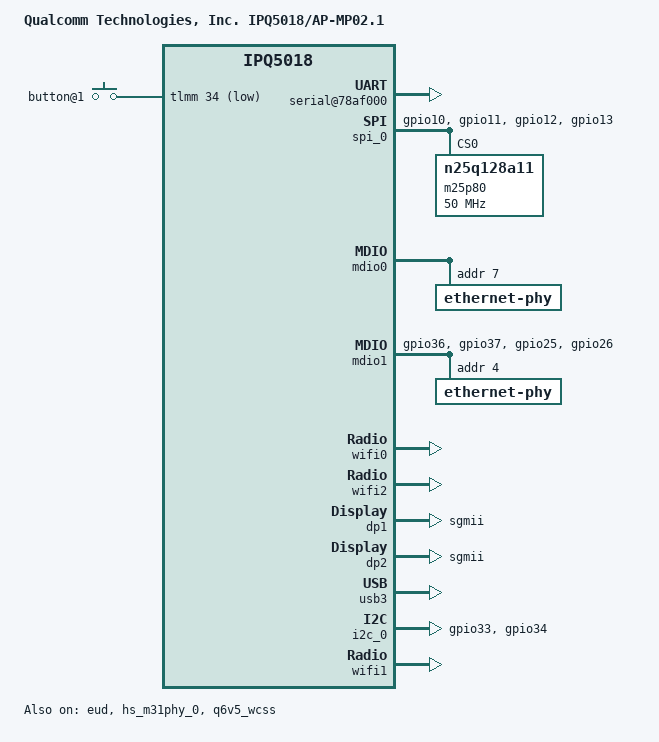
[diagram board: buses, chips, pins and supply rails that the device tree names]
/dts-v1/;
/* Copyright (c) 2018-2021, The Linux Foundation. All rights reserved.
 *
 * Copyright (c) 2021 Qualcomm Innovation Center, Inc. All rights reserved.
 *
 * Permission to use, copy, modify, and/or distribute this software for any
 * purpose with or without fee is hereby granted, provided that the above
 * copyright notice and this permission notice appear in all copies.
 *
 * THE SOFTWARE IS PROVIDED "AS IS" AND THE AUTHOR DISCLAIMS ALL WARRANTIES
 * WITH REGARD TO THIS SOFTWARE INCLUDING ALL IMPLIED WARRANTIES OF
 * MERCHANTABILITY AND FITNESS. IN NO EVENT SHALL THE AUTHOR BE LIABLE FOR
 * ANY SPECIAL, DIRECT, INDIRECT, OR CONSEQUENTIAL DAMAGES OR ANY DAMAGES
 * WHATSOEVER RESULTING FROM LOSS OF USE, DATA OR PROFITS, WHETHER IN AN
 * ACTION OF CONTRACT, NEGLIGENCE OR OTHER TORTIOUS ACTION, ARISING OUT OF
 * OR IN CONNECTION WITH THE USE OR PERFORMANCE OF THIS SOFTWARE.
 */

#include "ipq5018.dtsi"

/ {
	#address-cells = <0x2>;
	#size-cells = <0x2>;
	model = "Qualcomm Technologies, Inc. IPQ5018/AP-MP02.1";
	compatible = "qcom,ipq5018-ap-mp02.1", "qcom,ipq5018-mp02.1", "qcom,ipq5018";
	interrupt-parent = <&intc>;

	MP_256;
	/delete-property/ MP_512;

	aliases {
		sdhc1 = &sdhc_1; /* SDC1 eMMC slot */
		serial0 = &blsp1_uart1;
		serial1 = &blsp1_uart2;
		ethernet0 = "/soc/dp1";
		ethernet1 = "/soc/dp2";
	};

	chosen {
		bootargs = "console=ttyMSM0,115200,n8 rw init=/init";
		bootargs-append = " swiotlb=1 coherent_pool=2M";
		stdout-path = "serial0";
	};

	/*            256 MB Profile
	 * +=========+==============+========================+
	 * |        |              |                         |
	 * | Region | Start Offset |          Size           |
	 * |        |              |                         |
	 * +--------+--------------+-------------------------+
	 * |        |              |                         |
	 * |        |              |                         |
	 * |  NSS   |  0x40000000  |          8MB           |
	 * |        |              |                         |
	 * |        |              |                         |
	 * +--------+--------------+-------------------------+
	 * |        |              |                         |
	 * |        |              |                         |
	 * |        |              |                         |
	 * |        |              |                         |
	 * | Linux  |  0x40800000  | Depends on total memory |
	 * |        |              |                         |
	 * |        |              |                         |
	 * |        |              |                         |
	 * +        |              |                         |
	 * +--------+--------------+-------------------------+
	 * |        |              |                         |
	 * | uboot  |  0x4A600000  |           4MB           |
	 * |        |              |                         |
	 * +--------+--------------+-------------------------+
	 * |  SBL   |  0x4AA00000  |           1MB           |
	 * +--------+--------------+-------------------------+
	 * |  smem  |  0x4AB00000  |           1MB           |
	 * +--------+--------------+-------------------------+
	 * |        |              |                         |
	 * |   TZ   |  0x4AC00000  |           4MB           |
	 * |        |              |                         |
	 * +--------+--------------+-------------------------+
	 * |        |              |                         |
	 * |        |              |                         |
	 * |        |              |                         |
	 * |   Q6   |  0x4B000000  |          20MB           |
	 * |  code/ |              |                         |
	 * |  data  |              |                         |
	 * +--------+--------------+-------------------------+
	 * |        |              |                         |
	 * |IPQ5018 |  0x4C400000  |          13MB           |
	 * |  data  |              |                         |
	 * +--------+--------------+-------------------------+
	 * | M3 Dump|  0x4D100000  |           1MB           |
	 * +--------+--------------+-------------------------+
	 * |  QDSS  |  0x4D200000  |           1MB           |
	 * +--------+--------------+-------------------------+
	 * |QCN6122 |  0x4D300000  |          13MB           |
	 * |  data  |              |                         |
	 * +--------+--------------+-------------------------+
	 * | M3 Dump|  0x4E000000  |           1MB           |
	 * +--------+--------------+-------------------------+
	 * |  QDSS  |  0x4E100000  |           1MB           |
	 * +--------+--------------+-------------------------+
	 * |QCN6122 |  0x4E200000  |          13MB           |
	 * |  data  |              |                         |
	 * +--------+--------------+-------------------------+
	 * | M3 Dump|  0x4EF00000  |           1MB           |
	 * +--------+--------------+-------------------------+
	 * |  QDSS  |  0x4F000000  |           1MB           |
	 * +--------+--------------+-------------------------+
	 * |                                                 |
	 * |      Rest of the memory for Linux               |
	 * |                                                 |
	 * +=================================================+
	 */
	reserved-memory {
		/delete-node/ nss@40000000;

		nss@40000000 {
			no-map;
			reg = <0x0 0x40000000 0x0 0x0800000>;
		};

		q6_mem_regions: q6_mem_regions@4B000000 {
			no-map;
			reg = <0x0 0x4B000000 0x0 0x4100000>;
		};

		q6_code_data: q6_code_data@4B000000 {
			no-map;
			reg = <0x0 0x4B000000 0x0 01400000>;
		};

		q6_ipq5018_data: q6_ipq5018_data@4C400000 {
			no-map;
			reg = <0x0 0x4C400000 0x0 0xD00000>;
		};

		m3_dump: m3_dump@4D100000 {
			no-map;
			reg = <0x0 0x4D100000 0x0 0x100000>;
		};

		q6_etr_region: q6_etr_dump@4D200000 {
			no-map;
			reg = <0x0 0x4D200000 0x0 0x100000>;
		};

		q6_qcn6122_data1: q6_qcn6122_data1@4D300000 {
			no-map;
			reg = <0x0 0x4D300000 0x0 0xD00000>;
		};

		m3_dump_qcn6122_1: m3_dump_qcn6122_1@4E000000 {
			no-map;
			reg = <0x0 0x4E000000 0x0 0x100000>;
		};

		q6_qcn6122_etr_1: q6_qcn6122_etr_1@4E100000 {
			no-map;
			reg = <0x0 0x4E100000 0x0 0x100000>;
		};

		q6_qcn6122_data2: q6_qcn6122_data2@4E200000 {
			no-map;
			reg = <0x0 0x4E200000 0x0 0xD00000>;
		};

		m3_dump_qcn6122_2: m3_dump_qcn6122_2@4EF00000 {
			no-map;
			reg = <0x0 0x4EF00000 0x0 0x100000>;
		};

		q6_qcn6122_etr_2: q6_qcn6122_etr_2@4F000000 {
			no-map;
			reg = <0x0 0x4F000000 0x0 0x100000>;
		};
	};

	soc {
		serial@78af000 {
			status = "ok";
		};

		blsp1_uart2: serial@78b0000 {
			pinctrl-0 = <&blsp1_uart_pins>;
			pinctrl-names = "default";
		};

		qpic_bam: dma@7984000{
			status = "disabled";
		};

		nand: qpic-nand@79b0000 {
			pinctrl-0 = <&qspi_nand_pins>;
			pinctrl-names = "default";
			status = "disabled";
		};

		spi_0: spi@78b5000 { /* BLSP1 QUP0 */
			pinctrl-0 = <&blsp0_spi_pins>;
			pinctrl-names = "default";
			cs-select = <0>;
			status = "ok";

			m25p80@0 {
				#address-cells = <1>;
				#size-cells = <1>;
				reg = <0>;
				compatible = "n25q128a11";
				linux,modalias = "m25p80", "n25q128a11";
				spi-max-frequency = <50000000>;
				use-default-sizes;
			};
		};

		mdio0: mdio@88000 {
			status = "ok";

			ethernet-phy@0 {
				reg = <7>;
			};
		};

		mdio1: mdio@90000 {
			status = "ok";
			pinctrl-0 = <&mdio1_pins &phy_pins>;
			pinctrl-names = "default";
			phy-reset-gpio = <&tlmm 26 0>;

			ethernet-phy@0 {
				reg = <4>;
			};
		};

		ess-instance {
			num_devices = <0x1>;
			ess-switch@0x39c00000 {
				switch_mac_mode = <0xf>; /* mac mode for uniphy instance*/
				cmnblk_clk = "internal_96MHz"; /* cmnblk clk*/
				qcom,port_phyinfo {
					port@0 {
						port_id = <1>;
						phy_address = <7>;
						mdiobus = <&mdio0>;
					};
					port@1 {
						port_id = <2>;
						phy_address = <0x4>;
						mdiobus = <&mdio1>;
					};
				};
				led_source@0 {
					source = <0>;
					mode = "normal";
					speed = "all";
					blink_en = "enable";
					active = "low";
				};
			};
		};

		wifi0: wifi@c000000 {
			qcom,tgt-mem-mode = <2>;
			status = "ok";
		};

		wifi2: wifi2@c000000 {
			compatible = "qcom,cnss-qcn6122";
			qcom,rproc = <&q6v5_wcss>;
			status = "disabled";
		};

		dp1 {
			device_type = "network";
			compatible = "qcom,nss-dp";
			clocks = <&gcc GCC_SNOC_GMAC0_AXI_CLK>;
			clock-names = "nss-snoc-gmac-axi-clk";
			qcom,id = <1>;
			reg = <0x39C00000 0x10000>;
			interrupts = <GIC_SPI 101 IRQ_TYPE_LEVEL_HIGH>;
			qcom,mactype = <2>;
			qcom,link-poll = <1>;
			qcom,phy-mdio-addr = <7>;
			mdio-bus = <&mdio0>;
			local-mac-address = [000000000000];
			phy-mode = "sgmii";
			qcom,rx-page-mode = <0>;
		};

		dp2 {
			device_type = "network";
			compatible = "qcom,nss-dp";
			clocks = <&gcc GCC_SNOC_GMAC1_AXI_CLK>;
			clock-names = "nss-snoc-gmac-axi-clk";
			qcom,id = <2>;
			reg = <0x39D00000 0x10000>;
			interrupts = <GIC_SPI 109 IRQ_TYPE_LEVEL_HIGH>;
			qcom,mactype = <2>;
			qcom,link-poll = <1>;
			qcom,phy-mdio-addr = <4>;
			mdio-bus = <&mdio1>;
			local-mac-address = [000000000000];
			phy-mode = "sgmii";
			qcom,rx-page-mode = <0>;
		};
	};

	qcom,test@0 {
		status = "ok";
	};

	thermal-zones {
		status = "ok";
	};
};

&sdhc_1 {
	status = "disabled";
};

&tlmm {
	pinctrl-0 = <&blsp0_uart_pins &phy_led_pins>;
	pinctrl-names = "default";

	blsp0_uart_pins: blsp0_uart_pins {
		blsp0_uart_rx {
			pins = "gpio28";
			function = "blsp0_uart1";
			drive-strength = <8>;
			input-enable;
			bias-disable;
			bias-pull-up;
		};
		blsp0_uart_tx {
			pins = "gpio29";
			function = "blsp0_uart1";
			drive-strength = <8>;
			bias-disable;
			output-high;
			bias-pull-up;
		};
	};

	blsp1_uart_pins: blsp1_uart_pins {
		blsp1_uart_rx {
			pins = "gpio23";
			function = "blsp1_uart2";
			drive-strength = <8>;
			input-enable;
			bias-disable;
			bias-pull-up;
		};
		blsp1_uart_tx {
			pins = "gpio25";
			function = "blsp1_uart2";
			drive-strength = <8>;
			bias-disable;
			output-high;
			bias-pull-up;
		};
		blsp1_uart_rfr {
			pins = "gpio24";
			function = "blsp1_uart2";
			drive-strength = <8>;
			bias-disable;
			output-high;
			bias-pull-up;
		};
		blsp1_uart_cts {
			pins = "gpio26";
			function = "blsp1_uart2";
			drive-strength = <8>;
			bias-disable;
			input-enable;
			bias-pull-up;
		};
	};

	blsp0_spi_pins: blsp0_spi_pins {
		mux {
			pins = "gpio10", "gpio11", "gpio12", "gpio13";
			function = "blsp0_spi";
			drive-strength = <2>;
			bias-disable;
		};
	};

	qspi_nand_pins: qspi_nand_pins {
		qspi_clock {
			pins = "gpio9";
			function = "qspi_clk";
			drive-strength = <8>;
			bias-disable;
		};

		qspi_cs {
			pins = "gpio8";
			function = "qspi_cs";
			drive-strength = <8>;
			bias-disable;
		};

		qspi_data {
			pins = "gpio4", "gpio5", "gpio6", "gpio7";
			function = "qspi_data";
			drive-strength = <8>;
			bias-disable;
		};
	};

	phy_pins: phy_pins {
		phy_intr {
			pins = "gpio25";
			function = "gpio";
			drive-strength = <8>;
			bias-disable;
		};
		phy_reset {
			pins = "gpio26";
			function = "gpio";
			drive-strength = <8>;
			bias-pull-down;
			output-low;
		};
	};

	mdio1_pins: mdio_pinmux {
		mux_0 {
			pins = "gpio36";
			function = "mdc";
			drive-strength = <8>;
			bias-pull-up;
		};

		mux_1 {
			pins = "gpio37";
			function = "mdio";
			drive-strength = <8>;
			bias-pull-up;
		};
	};

	phy_led_pins: phy_led_pins {
		gephy_led_pin {
			pins = "gpio30";
			function = "led0";
			drive-strength = <8>;
			bias-pull-down;
		};
	};

	i2c_pins: i2c_pins {
		i2c_scl {
			pins = "gpio33";
			function = "blsp2_i2c0";
			drive-strength = <8>;
			bias-disable;
		};

		i2c_sda {
			pins = "gpio34";
			function = "blsp2_i2c0";
			drive-strength = <8>;
			bias-disable;
		};
	};

	btss_pins: btss_pins {

		phandle = <0x1>;

		mux_0 {
			pins = "gpio4";
			function = "btss0";
			bias-pull-down;
		};

		mux_1 {
			pins = "gpio5";
			function = "btss1";
			bias-pull-down;
		};

		mux_2 {
			pins = "gpio6";
			function = "btss2";
			bias-pull-down;
		};

		mux_3 {
			pins = "gpio7";
			function = "btss3";
			bias-pull-down;
		};
	};

	button_pins: button_pins {
		wps_button {
			pins = "gpio34";
			function = "gpio";
			drive-strength = <8>;
			bias-pull-up;
		};
	};
};

&soc {
	gpio_keys {
		compatible = "gpio-keys";
		/* pinctrl-0 = <&button_pins>;
		pinctrl-names = "default"; */

		button@1 {
			/* label = "wps";
			linux,code = <KEY_WPS_BUTTON>; */
			gpios = <&tlmm 34 GPIO_ACTIVE_LOW>;
			linux,input-type = <1>;
			debounce-interval = <60>;
		};
	};
};

&usb3 {
	status = "ok";
};

&eud {
	status = "ok";
};

&pcie_x1 {
	perst-gpio = <&tlmm 27 GPIO_ACTIVE_LOW>;
};

&pcie_x2 {
	perst-gpio = <&tlmm 15 GPIO_ACTIVE_LOW>;
};

&dwc_0 {
	/delete-property/ #phy-cells;
	/delete-property/ phys;
	/delete-property/ phy-names;
};

&hs_m31phy_0 {
	status = "ok";
};


&pcie_x1_rp {
	status = "disabled";

	mhi_0: qcom,mhi@0 {
		reg = <0 0 0 0 0 >;
	};
};

&pcie_x2_rp {
	status = "disabled";

	mhi_1: qcom,mhi@1 {
		reg = <0 0 0 0 0 >;
	};
};

&q6v5_wcss {
	compatible = "qcom,ipq5018-q6-mpd";
	#address-cells = <1>;
	#size-cells = <1>;
	ranges;
	firmware = "IPQ5018/q6_fw.mdt";
	reg = <0x0cd00000 0x4040>,
		<0x1938000 0x8>,
		<0x193d204 0x4>;
	reg-names = "qdsp6",
			"tcsr-msip",
			"tcsr-q6";
	resets = <&gcc GCC_WCSSAON_RESET>,
			<&gcc GCC_WCSS_Q6_BCR>;

	reset-names = "wcss_aon_reset",
			"wcss_q6_reset";

	clocks = <&gcc GCC_Q6_AXIS_CLK>,
		<&gcc GCC_WCSS_ECAHB_CLK>,
		<&gcc GCC_Q6_AXIM_CLK>,
		<&gcc GCC_Q6_AXIM2_CLK>,
		<&gcc GCC_Q6_AHB_CLK>,
		<&gcc GCC_Q6_AHB_S_CLK>,
		<&gcc GCC_WCSS_AXI_S_CLK>;
	clock-names = "gcc_q6_axis_clk",
		"gcc_wcss_ecahb_clk",
		"gcc_q6_axim_clk",
		"gcc_q6_axim2_clk",
		"gcc_q6_ahb_clk",
		"gcc_q6_ahb_s_clk",
		"gcc_wcss_axi_s_clk";

	memory-region = <&q6_mem_regions>, <&q6_etr_region>;

	qcom,rproc = <&q6v5_wcss>;
	qcom,bootargs_smem = <507>;
	boot-args = <0x1 0x4 0x3 0x0F 0x0 0x0>,
			<0x2 0x4 0x2 0x1B 0x0 0x0>;
	status = "ok";
	q6_wcss_pd1: remoteproc_pd1@4ab000 {
		compatible = "qcom,ipq5018-wcss-ahb-mpd";
		reg = <0x4ab000 0x20>;
		reg-names = "rmb";
		firmware = "IPQ5018/q6_fw.mdt";
		m3_firmware = "IPQ5018/m3_fw.mdt";
		interrupts-extended = <&wcss_smp2p_in 8 0>,
					<&wcss_smp2p_in 9 0>,
					<&wcss_smp2p_in 12 0>,
					<&wcss_smp2p_in 11 0>;
		interrupt-names = "fatal",
					"ready",
					"spawn-ack",
					"stop-ack";

		resets = <&gcc GCC_WCSSAON_RESET>,
				<&gcc GCC_WCSS_BCR>,
				<&gcc GCC_CE_BCR>;
		reset-names = "wcss_aon_reset",
				"wcss_reset",
				"ce_reset";

		clocks = <&gcc GCC_WCSS_AHB_S_CLK>,
				<&gcc GCC_WCSS_ACMT_CLK>,
				<&gcc GCC_WCSS_AXI_M_CLK>;
		clock-names = "gcc_wcss_ahb_s_clk",
					"gcc_wcss_acmt_clk",
					"gcc_wcss_axi_m_clk";

		qcom,halt-regs = <&tcsr_q6_block 0xa000 0xd000 0x0>;

		qcom,smem-states = <&wcss_smp2p_out 8>,
					<&wcss_smp2p_out 9>,
					<&wcss_smp2p_out 10>;
		qcom,smem-state-names = "shutdown",
					"stop",
					"spawn";
		memory-region = <&q6_ipq5018_data>, <&m3_dump>,
				<&q6_etr_region>;
	};

	q6_wcss_pd2: remoteproc_pd2 {
		compatible = "qcom,ipq5018-wcss-pcie-mpd";
		firmware = "IPQ5018/q6_fw.mdt";
		m3_firmware = "qcn6122/m3_fw.mdt";
		interrupts-extended = <&wcss_smp2p_in 16 0>,
					<&wcss_smp2p_in 17 0>,
					<&wcss_smp2p_in 20 0>,
					<&wcss_smp2p_in 19 0>;
		interrupt-names = "fatal",
					"ready",
					"spawn-ack",
					"stop-ack";

		qcom,smem-states = <&wcss_smp2p_out 16>,
					<&wcss_smp2p_out 17>,
					<&wcss_smp2p_out 18>;
		qcom,smem-state-names = "shutdown",
					"stop",
					"spawn";
		memory-region = <&q6_qcn6122_data1>, <&m3_dump_qcn6122_1>,
				<&q6_qcn6122_etr_1>;
	};

	q6_wcss_pd3: remoteproc_pd3 {
		compatible = "qcom,ipq5018-wcss-pcie-mpd";
		firmware = "IPQ5018/q6_fw.mdt";
		interrupts-extended = <&wcss_smp2p_in 24 0>,
					<&wcss_smp2p_in 25 0>,
					<&wcss_smp2p_in 28 0>,
					<&wcss_smp2p_in 27 0>;
		interrupt-names = "fatal",
					"ready",
					"spawn-ack",
					"stop-ack";

		qcom,smem-states = <&wcss_smp2p_out 24>,
					<&wcss_smp2p_out 25>,
					<&wcss_smp2p_out 26>;
		qcom,smem-state-names = "shutdown",
					"stop",
					"spawn";
		memory-region = <&q6_qcn6122_data2>, <&m3_dump_qcn6122_2>,
				<&q6_qcn6122_etr_2>;
	};
};

&i2c_0 {
	pinctrl-0 = <&i2c_pins>;
	pinctrl-names = "default";
};

&wifi0 {
	/* IPQ5018 */
	qcom,multipd_arch;
	qcom,board_id = <0x10>;
	qcom,bdf-addr = <0 0 0x4C400000 0 0 0>;
	qcom,caldb-addr = <0 0 0 0 0 0>;
	qcom,caldb-size = <0x0>;
	qcom,userpd-subsys-name = "q6v5_wcss_userpd1";
	qcom,rproc = <&q6_wcss_pd1>;
	mem-region = <&q6_ipq5018_data>;
	status = "ok";
};

&wifi1 {
	/* QCN6122 6G */
	qcom,multipd_arch;
	qcom,board_id = <0x90>;
	qcom,tgt-mem-mode = <2>;
	compatible = "qcom,cnss-qcn6122";
	qcom,bdf-addr = <0 0 0x4D300000 0 0 0>;
	qcom,caldb-addr = <0 0 0 0 0 0>;
	qcom,caldb-size = <0x0>;
	qcom,userpd-subsys-name = "q6v5_wcss_userpd2";
	qcom,rproc = <&q6_wcss_pd2>;
	mem-region = <&q6_qcn6122_data1>;
	status = "ok";
};

&wifi2 {
	/* QCN6122 5G */
	qcom,multipd_arch;
	qcom,board_id = <0x50>;
	qcom,tgt-mem-mode = <2>;
	compatible = "qcom,cnss-qcn6122";
	qcom,bdf-addr = <0 0 0x4E200000 0 0 0>;
	qcom,caldb-addr = <0 0 0 0 0 0>;
	qcom,caldb-size = <0x0>;
	qcom,userpd-subsys-name = "q6v5_wcss_userpd3";
	qcom,rproc = <&q6_wcss_pd3>;
	mem-region = <&q6_qcn6122_data2>;
	status = "ok";
};
